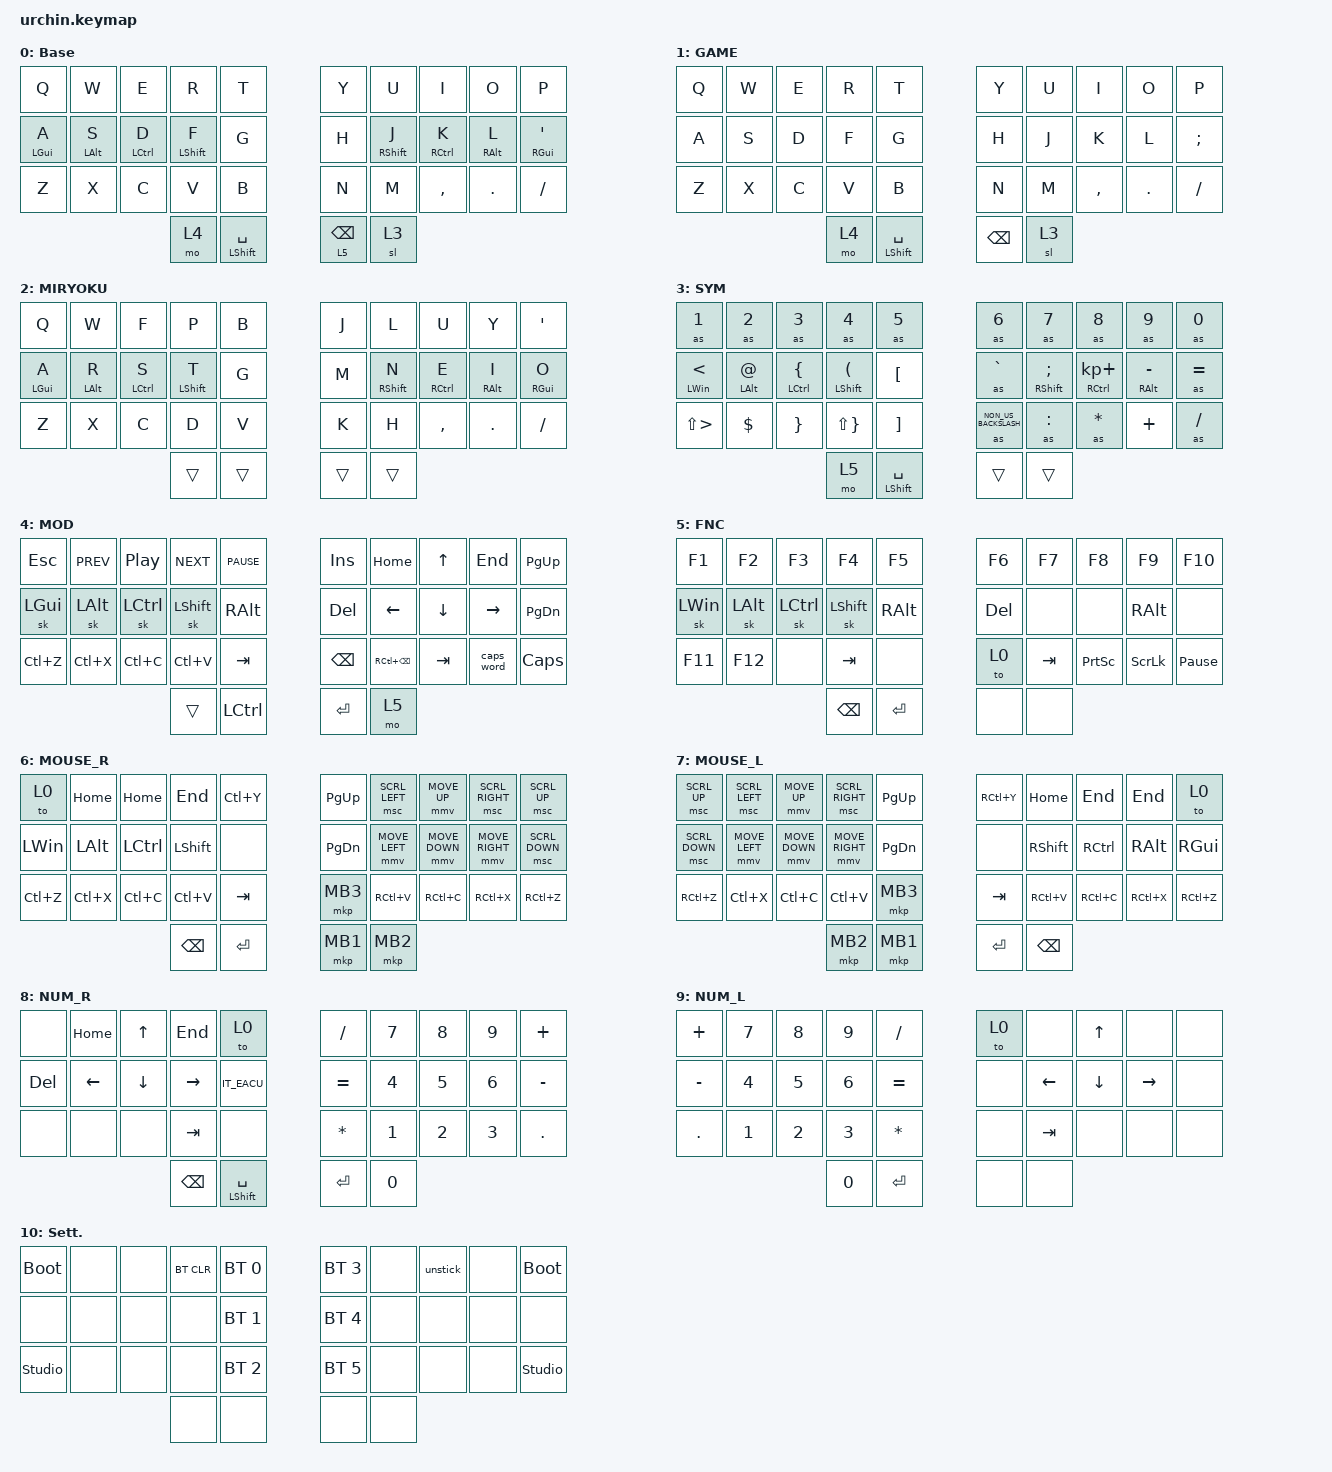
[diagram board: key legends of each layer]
/*
 * Copyright (c) 2020 duckyb
 *
 * SPDX-License-Identifier: MIT
 */

#define ZMK_POINTING_DEFAULT_MOVE_VAL 1800  // default: 600
#define ZMK_POINTING_DEFAULT_SCRL_VAL 40    // default: 10

#include <behaviors.dtsi>
#include <dt-bindings/zmk/bt.h>
#include <dt-bindings/zmk/keys.h>
#include <dt-bindings/zmk/pointing.h>
#include "keymap_italian.h"

// Layer definitions

#define BASE 0
#define GAME 1
#define MIRYOKU 2
#define SYM 3
#define MOD 4
#define FNC 5
#define MOUSE_R 6
#define MOUSE_L 7
#define NUM_R 8
#define NUM_L 9
#define SETT 10

// -----------------

&sk {
    // don't release mods on other mods presses

    ignore-modifiers;
};

&mmv { acceleration-exponent = <2>; };

&msc { acceleration-exponent = <1>; };

/ {
    behaviors {
        // Enables holding the first mod-tap key
        // by performing a tap-release-hold sequence.
        // To use it: "&qt KEYCODE1 KEYCODE2"

        qt: quick_tap {
            compatible = "zmk,behavior-hold-tap";
            label = "QUICK_TAP";
            #binding-cells = <2>;
            flavor = "hold-preferred";
            tapping-term-ms = <200>;
            quick-tap-ms = <200>;
            bindings = <&kp>, <&kp>;
        };

        HMShiftR: HMShiftR {
            compatible = "zmk,behavior-hold-tap";
            label = "HMSHIFTR";
            bindings = <&kp>, <&kp>;

            #binding-cells = <2>;
            tapping-term-ms = <200>;
            hold-trigger-key-positions = <0 1 2 3 4 10 11 12 13 14 20 21 22 23 24 30 31>;
            hold-trigger-on-release;
            require-prior-idle-ms = <150>;
            flavor = "balanced";
            quick-tap-ms = <175>;
        };

        HMShiftL: HMShiftL {
            compatible = "zmk,behavior-hold-tap";
            label = "HMSHIFTL";
            bindings = <&kp>, <&kp>;

            #binding-cells = <2>;
            tapping-term-ms = <200>;
            hold-trigger-on-release;
            hold-trigger-key-positions = <5 6 7 8 9 15 16 17 18 19 25 26 27 28 29 32 33>;
            quick-tap-ms = <175>;
            require-prior-idle-ms = <150>;
            flavor = "balanced";
        };

        HMR: HMR {
            compatible = "zmk,behavior-hold-tap";
            label = "HMR";
            bindings = <&kp>, <&kp>;

            #binding-cells = <2>;
            tapping-term-ms = <1000>;
            hold-trigger-key-positions = <0 1 2 3 4 10 11 12 13 14 20 21 22 23 24 30 31>;
            hold-trigger-on-release;
            flavor = "balanced";
            quick-tap-ms = <200>;
            require-prior-idle-ms = <150>;
        };

        HML: HML {
            compatible = "zmk,behavior-hold-tap";
            label = "HML";
            bindings = <&kp>, <&kp>;

            #binding-cells = <2>;
            tapping-term-ms = <1000>;
            hold-trigger-on-release;
            flavor = "balanced";
            hold-trigger-key-positions = <5 6 7 8 9 15 16 17 18 19 25 26 27 28 29 32 33>;
            quick-tap-ms = <200>;
            require-prior-idle-ms = <150>;
        };

        DBT_EQ_PLUS: DBT_EQ_PLUS {
            compatible = "zmk,behavior-tap-dance";
            label = "DBT_EQ_PLUS";
            #binding-cells = <0>;
            bindings = <&kp EQUAL>, <&kp PLUS>;

            tapping-term-ms = <200>;
        };

        longPress: longPress {
            compatible = "zmk,behavior-hold-tap";
            label = "LONGPRESS";
            bindings = <&kp>, <&kp>;

            #binding-cells = <2>;
            tapping-term-ms = <350>;
            flavor = "tap-preferred";
        };

        SLHT: SLHT {
            compatible = "zmk,behavior-hold-tap";
            label = "sticky_layer_hold_tap";
            bindings = <&mo>, <&sl>;

            #binding-cells = <2>;
            flavor = "tap-preferred";
            tapping-term-ms = <250>;
            quick-tap-ms = <150>;
            require-prior-idle-ms = <100>;
            hold-trigger-key-positions = <33>;
        };

        LHT: LHT {
            compatible = "zmk,behavior-hold-tap";
            label = "LHT";
            bindings = <&mo>, <&kp>;

            #binding-cells = <2>;
            tapping-term-ms = <200>;
            quick-tap-ms = <200>;
        };

        as_ht: autoshift_hold_tap {
            compatible = "zmk,behavior-hold-tap";
            label = "AUTOSHIFT_HOLD_TAP";
            #binding-cells = <2>;
            tapping-term-ms = <200>;
            bindings = <&shifted>, <&kp>;
        };
    };

    macros {
        // sometimes my device thinks a modifier is being held down
        // pressing all modifiers fixes it.

        unstick: unstick {
            label = "ZM_unstick";
            compatible = "zmk,behavior-macro";
            #binding-cells = <0>;
            bindings = <&kp LSHIFT &kp RSHIFT &kp LCTRL &kp RCTRL &kp LALT &kp RALT &kp LGUI &kp RGUI>;
        };

        shifted: macro_shifted_kp {
            #binding-cells = <1>;
            label = "MACRO_SHIFTED_KP";
            compatible = "zmk,behavior-macro-one-param";
            bindings =
                <&macro_press>,
                <&kp LSHFT &macro_param_1to1>,
                <&macro_tap>,
                <&kp MACRO_PLACEHOLDER>,
                <&macro_release>,
                <&kp LSHFT>;
        };

        as: autoshift {
            compatible = "zmk,behavior-macro-one-param";
            #binding-cells = <1>;
            label = "AUTOSHIFT_KP";
            bindings =
                <&macro_press>,
                <&macro_param_1to1 &macro_param_1to2 &as_ht MACRO_PLACEHOLDER MACRO_PLACEHOLDER>,
                <&macro_pause_for_release>,
                <&macro_release>,
                <&macro_param_1to1 &macro_param_1to2 &as_ht MACRO_PLACEHOLDER MACRO_PLACEHOLDER>;
        };
    };

    combos {
        compatible = "zmk,combos";

        combo_settings {
            bindings = <&mo 10>;
            key-positions = <1 23>;
            timeout-ms = <1200>;
            slow-release;
            require-prior-idle-ms = <200>;
        };

        to_base {
            bindings = <&to 0>;
            key-positions = <4 5>;
            timeout-ms = <1200>;
            slow-release;
            require-prior-idle-ms = <200>;
        };

        tog1_game {
            bindings = <&tog 1>;
            key-positions = <3 6>;
            timeout-ms = <1200>;
            slow-release;
            require-prior-idle-ms = <1000>;
            layers = <0 1>;
        };

        tog2_Miryoku {
            bindings = <&tog 2>;
            key-positions = <2 7>;
            timeout-ms = <1200>;
            slow-release;
            require-prior-idle-ms = <200>;
            layers = <0 2>;
        };

        tog_mouseR {
            timeout-ms = <500>;
            key-positions = <33 25>;
            bindings = <&tog 6>;
            slow-release;
            require-prior-idle-ms = <200>;
        };

        tog_mouseL {
            bindings = <&tog 7>;
            key-positions = <24 30>;
            require-prior-idle-ms = <1000>;
            timeout-ms = <1000>;
            slow-release;
        };

        tog_num {
            timeout-ms = <1200>;
            key-positions = <33 32>;
            bindings = <&tog 8>;
            slow-release;
            require-prior-idle-ms = <1000>;
        };

        tog_numL {
            timeout-ms = <1200>;
            key-positions = <30 31>;
            bindings = <&tog 9>;
            slow-release;
            require-prior-idle-ms = <1000>;
        };

        semicolon {
            bindings = <&kp SEMICOLON>;
            key-positions = <19 18>;
            timeout-ms = <200>;
            layers = <0>;
            slow-release;
            require-prior-idle-ms = <75>;
        };

        esc {
            bindings = <&kp ESCAPE>;
            key-positions = <0 1>;
            timeout-ms = <200>;
            require-prior-idle-ms = <175>;
        };

        capslock {
            bindings = <&kp CAPS>;
            key-positions = <8 9>;
            timeout-ms = <200>;
            slow-release;
            require-prior-idle-ms = <175>;
        };

        combo_tab {
            bindings = <&kp TAB>;
            key-positions = <10 11>;
            timeout-ms = <200>;
            require-prior-idle-ms = <150>;
        };

        undo {
            bindings = <&kp LC(Z)>;
            key-positions = <20 21>;
            timeout-ms = <200>;
            require-prior-idle-ms = <175>;
        };

        redo {
            bindings = <&kp LC(Y)>;
            key-positions = <5 6>;
            timeout-ms = <200>;
            require-prior-idle-ms = <175>;
        };
    };

    keymap {
        compatible = "zmk,keymap";

        // Base alpha layer

        default_layer {
            label = "Base";
            bindings = <
&kp Q            &kp W            &kp E         &kp R                   &kp T             &kp Y             &kp U                    &kp I         &kp O             &kp P
&HML LEFT_GUI A  &HML LEFT_ALT S  &HML LCTRL D  &HMShiftL LEFT_SHIFT F  &kp G             &kp H             &HMShiftR RIGHT_SHIFT J  &HMR RCTRL K  &HMR RIGHT_ALT L  &HMR RIGHT_GUI SQT
&kp Z            &kp X            &kp C         &kp V                   &kp B             &kp N             &kp M                    &kp COMMA     &kp DOT           &kp SLASH
                                                &mo 4                   &qt LSHIFT SPACE  &LHT 5 BACKSPACE  &sl 3
            >;
        };

        GAME {
            label = "GAME";
            bindings = <
&kp Q  &kp W  &kp E  &kp R  &kp T             &kp Y          &kp U  &kp I      &kp O    &kp P
&kp A  &kp S  &kp D  &kp F  &kp G             &kp H          &kp J  &kp K      &kp L    &kp SEMI
&kp Z  &kp X  &kp C  &kp V  &kp B             &kp N          &kp M  &kp COMMA  &kp DOT  &kp SLASH
                     &mo 4  &qt LSHIFT SPACE  &kp BACKSPACE  &sl 3
            >;
        };

        Miryoku {
            bindings = <
&kp Q            &kp W            &kp F         &kp P              &kp B   &kp J   &kp L                    &kp U         &kp Y             &kp SQT
&HML LEFT_GUI A  &HML LEFT_ALT R  &HML LCTRL S  &HMShiftL LSHFT T  &kp G   &kp M   &HMShiftR RIGHT_SHIFT N  &HMR RCTRL E  &HMR RIGHT_ALT I  &HMR RIGHT_GUI O
&kp Z            &kp X            &kp C         &kp D              &kp V   &kp K   &kp H                    &kp COMMA     &kp DOT           &kp FSLH
                                                &trans             &trans  &trans  &trans
            >;

            label = "MIRYOKU";
        };

        sym_layer {
            label = "SYM";
            bindings = <
&as NUMBER_1             &as NUMBER_2           &as NUMBER_3           &as NUMBER_4                           &as N5                &as NUMBER_6          &as NUMBER_7                     &as N8              &as N9                &as N0
&HML LEFT_WIN LESS_THAN  &HML LEFT_ALT AT_SIGN  &HML LCTRL LEFT_BRACE  &HMShiftL LEFT_SHIFT LEFT_PARENTHESIS  &kp LBKT              &as GRAVE             &HMShiftR RIGHT_SHIFT SEMICOLON  &HMR RCTRL KP_PLUS  &HMR RIGHT_ALT MINUS  &as EQUAL
&kp LS(GT)               &kp DOLLAR             &kp RBRC               &kp LS(RBRC)                           &kp RBKT              &as NON_US_BACKSLASH  &as COLON                        &as ASTERISK        &kp PLUS              &as SLASH
                                                                       &mo 5                                  &qt LEFT_SHIFT SPACE  &trans                &trans
            >;
        };

        MOD_layer {
            label = "MOD";
            bindings = <
&kp ESC       &kp C_PREV    &kp C_PP          &kp C_NEXT      &kp C_PAUSE  &kp INS    &kp HOME      &kp UP    &kp END     &kp PG_UP
&sk LEFT_GUI  &sk LEFT_ALT  &sk LEFT_CONTROL  &sk LEFT_SHIFT  &kp RALT     &kp DEL    &kp LEFT      &kp DOWN  &kp RIGHT   &kp PG_DN
&kp LC(Z)     &kp LC(X)     &kp LC(C)         &kp LC(V)       &kp TAB      &kp BSPC   &kp RC(BSPC)  &kp TAB   &caps_word  &kp CAPSLOCK
                                              &trans          &kp LCTRL    &kp ENTER  &mo 5
            >;
        };

        fnc {
            label = "FNC";
            bindings = <
&kp F1        &kp F2        &kp F3     &kp F4          &kp F5     &kp F6      &kp F7   &kp F8           &kp F9          &kp F10
&sk LEFT_WIN  &sk LEFT_ALT  &sk LCTRL  &sk LEFT_SHIFT  &kp RALT   &kp DELETE  &none    &none            &kp RIGHT_ALT   &none
&kp F11       &kp F12       &none      &kp TAB         &none      &to 0       &kp TAB  &kp PRINTSCREEN  &kp SCROLLLOCK  &kp PAUSE_BREAK
                                       &kp BACKSPACE   &kp ENTER  &none       &none
            >;
        };

        MOUSE_R {
            label = "MOUSE_R";
            bindings = <
&to 0         &kp HOME      &kp HOME          &kp END         &kp LC(Y)  &kp PAGE_UP    &msc SCRL_LEFT  &mmv MOVE_UP    &msc SCRL_RIGHT  &msc SCRL_UP
&kp LEFT_WIN  &kp LEFT_ALT  &kp LEFT_CONTROL  &kp LEFT_SHIFT  &none      &kp PAGE_DOWN  &mmv MOVE_LEFT  &mmv MOVE_DOWN  &mmv MOVE_RIGHT  &msc SCRL_DOWN
&kp LC(Z)     &kp LC(X)     &kp LC(C)         &kp LC(V)       &kp TAB    &mkp MB3       &kp RC(V)       &kp RC(C)       &kp RC(X)        &kp RC(Z)
                                              &kp BACKSPACE   &kp ENTER  &mkp MB1       &mkp MB2
            >;
        };

        MOUSE_L {
            label = "MOUSE_L";
            bindings = <
&msc SCRL_UP    &msc SCRL_LEFT  &mmv MOVE_UP    &msc SCRL_RIGHT  &kp PAGE_UP    &kp RC(Y)  &kp HOME         &kp END    &kp END        &to 0
&msc SCRL_DOWN  &mmv MOVE_LEFT  &mmv MOVE_DOWN  &mmv MOVE_RIGHT  &kp PAGE_DOWN  &none      &kp RIGHT_SHIFT  &kp RCTRL  &kp RIGHT_ALT  &kp RIGHT_GUI
&kp RC(Z)       &kp LC(X)       &kp LC(C)       &kp LC(V)        &mkp MB3       &kp TAB    &kp RC(V)        &kp RC(C)  &kp RC(X)      &kp RC(Z)
                                                &mkp MB2         &mkp MB1       &kp ENTER  &kp BACKSPACE
            >;
        };

        NUM_R {
            label = "NUM_R";
            bindings = <
&none       &kp HOME  &kp UP    &kp END        &to 0                 &kp SLASH  &kp N7  &kp N8  &kp N9  &kp PLUS
&kp DELETE  &kp LEFT  &kp DOWN  &kp RIGHT      &kp IT_EACU           &kp EQUAL  &kp N4  &kp N5  &kp N6  &kp MINUS
&none       &none     &none     &kp TAB        &none                 &kp STAR   &kp N1  &kp N2  &kp N3  &kp DOT
                                &kp BACKSPACE  &qt LEFT_SHIFT SPACE  &kp ENTER  &kp N0
            >;
        };

        NUM_L {
            bindings = <
&kp PLUS   &kp N7  &kp N8  &kp N9  &kp FSLH   &to 0  &none     &kp UP    &none      &none
&kp MINUS  &kp N4  &kp N5  &kp N6  &kp EQUAL  &none  &kp LEFT  &kp DOWN  &kp RIGHT  &none
&kp DOT    &kp N1  &kp N2  &kp N3  &kp STAR   &none  &kp TAB   &none     &none      &none
                           &kp N0  &kp ENTER  &none  &none
            >;

            label = "NUM_L";
        };

        SETT {
            label = "Sett.";
            bindings = <
&bootloader     &none  &none  &bt BT_CLR  &bt BT_SEL 0  &bt BT_SEL 3  &none  &unstick  &none  &bootloader
&none           &none  &none  &none       &bt BT_SEL 1  &bt BT_SEL 4  &none  &none     &none  &none
&studio_unlock  &none  &none  &none       &bt BT_SEL 2  &bt BT_SEL 5  &none  &none     &none  &studio_unlock
                              &none       &none         &none         &none
            >;
        };
    };
};
